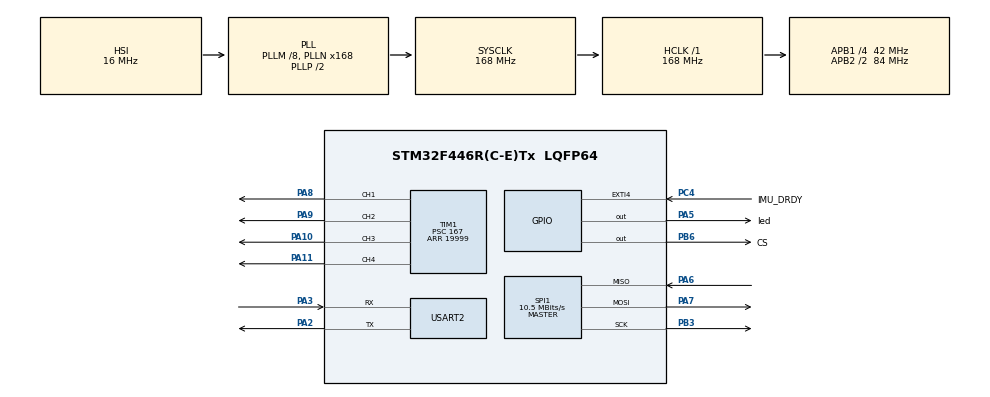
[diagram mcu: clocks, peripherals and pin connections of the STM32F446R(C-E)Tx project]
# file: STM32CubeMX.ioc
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Dma.Request0=USART2_TX
Dma.Request1=SPI1_TX
Dma.Request2=SPI1_RX
Dma.SPI1_RX.2.Direction=DMA_PERIPH_TO_MEMORY
Dma.SPI1_RX.2.FIFOMode=DMA_FIFOMODE_DISABLE
Dma.SPI1_RX.2.Instance=DMA2_Stream0
Dma.SPI1_RX.2.MemDataAlignment=DMA_MDATAALIGN_BYTE
Dma.SPI1_RX.2.MemInc=DMA_MINC_ENABLE
Dma.SPI1_RX.2.Mode=DMA_NORMAL
Dma.SPI1_RX.2.PeriphDataAlignment=DMA_PDATAALIGN_BYTE
Dma.SPI1_RX.2.PeriphInc=DMA_PINC_DISABLE
Dma.SPI1_RX.2.Priority=DMA_PRIORITY_HIGH
Dma.SPI1_TX.1.Direction=DMA_MEMORY_TO_PERIPH
Dma.SPI1_TX.1.FIFOMode=DMA_FIFOMODE_DISABLE
Dma.SPI1_TX.1.Instance=DMA2_Stream3
Dma.SPI1_TX.1.MemDataAlignment=DMA_MDATAALIGN_BYTE
Dma.SPI1_TX.1.MemInc=DMA_MINC_ENABLE
Dma.SPI1_TX.1.Mode=DMA_NORMAL
Dma.SPI1_TX.1.PeriphDataAlignment=DMA_PDATAALIGN_BYTE
Dma.SPI1_TX.1.PeriphInc=DMA_PINC_DISABLE
Dma.SPI1_TX.1.Priority=DMA_PRIORITY_HIGH
Dma.USART2_TX.0.Direction=DMA_MEMORY_TO_PERIPH
Dma.USART2_TX.0.FIFOMode=DMA_FIFOMODE_DISABLE
Dma.USART2_TX.0.Instance=DMA1_Stream6
Dma.USART2_TX.0.MemDataAlignment=DMA_MDATAALIGN_BYTE
Dma.USART2_TX.0.MemInc=DMA_MINC_ENABLE
Dma.USART2_TX.0.Mode=DMA_NORMAL
Dma.USART2_TX.0.PeriphDataAlignment=DMA_PDATAALIGN_BYTE
Dma.USART2_TX.0.PeriphInc=DMA_PINC_DISABLE
Dma.USART2_TX.0.Priority=DMA_PRIORITY_LOW
Mcu.Family=STM32F4
Mcu.Name=STM32F446R(C-E)Tx
Mcu.Package=LQFP64
NVIC.DMA1_Stream6_IRQn=true\:0\:0\:false\:false\:true\:false\:true\:true
NVIC.DMA2_Stream0_IRQn=true\:7\:0\:true\:false\:true\:false\:true\:true
NVIC.DMA2_Stream3_IRQn=true\:7\:0\:true\:false\:true\:false\:true\:true
NVIC.PriorityGroup=NVIC_PRIORITYGROUP_4
NVIC.TIM2_IRQn=true\:5\:0\:true\:false\:true\:true\:true\:true
NVIC.TIM6_DAC_IRQn=true\:15\:0\:false\:false\:true\:false\:true\:true
NVIC.TimeBase=TIM6_DAC_IRQn
NVIC.TimeBaseIP=TIM6
NVIC.USART2_IRQn=true\:2\:0\:true\:false\:true\:true\:true\:true
PA10.GPIO_Speed=GPIO_SPEED_FREQ_VERY_HIGH
PA10.Signal=S_TIM1_CH3
PA11.GPIO_Speed=GPIO_SPEED_FREQ_VERY_HIGH
PA11.Signal=S_TIM1_CH4
PA13.Mode=Serial_Wire
PA13.Signal=SYS_JTMS-SWDIO
PA14.Mode=Serial_Wire
PA14.Signal=SYS_JTCK-SWCLK
PA2.Mode=Asynchronous
PA2.Signal=USART2_TX
PA3.Mode=Asynchronous
PA3.Signal=USART2_RX
PA5.GPIO_Label=led
PA5.GPIO_Speed=GPIO_SPEED_FREQ_VERY_HIGH
PA5.PinState=GPIO_PIN_SET
PA5.Signal=GPIO_Output
PA6.Mode=Full_Duplex_Master
PA6.Signal=SPI1_MISO
PA7.Mode=Full_Duplex_Master
PA7.Signal=SPI1_MOSI
PA8.GPIO_Speed=GPIO_SPEED_FREQ_VERY_HIGH
PA8.Signal=S_TIM1_CH1
PA9.GPIO_Speed=GPIO_SPEED_FREQ_VERY_HIGH
PA9.Signal=S_TIM1_CH2
PB3.Mode=Full_Duplex_Master
PB3.Signal=SPI1_SCK
PB6.GPIO_Label=CS
PB6.GPIO_Speed=GPIO_SPEED_FREQ_VERY_HIGH
PB6.PinState=GPIO_PIN_SET
PB6.Signal=GPIO_Output
PC4.GPIO_Label=IMU_DRDY
PC4.Signal=GPXTI4
ProjectManager.HeapSize=0x200
ProjectManager.StackSize=0x400
ProjectManager.TargetToolchain=MDK-ARM V5
RCC.AHBFreq_Value=168000000
RCC.APB1CLKDivider=RCC_HCLK_DIV4
RCC.APB1Freq_Value=42000000
RCC.APB1TimFreq_Value=84000000
RCC.APB2CLKDivider=RCC_HCLK_DIV2
RCC.APB2Freq_Value=84000000
RCC.APB2TimFreq_Value=168000000
RCC.CortexFreq_Value=168000000
RCC.HCLKFreq_Value=168000000
RCC.PLLM=8
RCC.PLLN=168
RCC.SYSCLKFreq_VALUE=168000000
RCC.SYSCLKSource=RCC_SYSCLKSOURCE_PLLCLK
RCC.USBFreq_Value=168000000
RCC.VCOOutputFreq_Value=336000000
SH.S_TIM1_CH1.0=TIM1_CH1,PWM Generation1 CH1
SH.S_TIM1_CH2.0=TIM1_CH2,PWM Generation2 CH2
SH.S_TIM1_CH3.0=TIM1_CH3,PWM Generation3 CH3
SH.S_TIM1_CH4.0=TIM1_CH4,PWM Generation4 CH4
SPI1.BaudRatePrescaler=SPI_BAUDRATEPRESCALER_8
SPI1.CalculateBaudRate=10.5 MBits/s
SPI1.Direction=SPI_DIRECTION_2LINES
SPI1.Mode=SPI_MODE_MASTER
SPI1.VirtualType=VM_MASTER
TIM1.AutoReloadPreload=TIM_AUTORELOAD_PRELOAD_ENABLE
TIM1.Channel-PWM\ Generation1\ CH1=TIM_CHANNEL_1
TIM1.Channel-PWM\ Generation2\ CH2=TIM_CHANNEL_2
TIM1.Channel-PWM\ Generation3\ CH3=TIM_CHANNEL_3
TIM1.Channel-PWM\ Generation4\ CH4=TIM_CHANNEL_4
TIM1.Period=19999
TIM1.Prescaler=167
TIM1.Pulse-PWM\ Generation1\ CH1=1500
TIM1.Pulse-PWM\ Generation2\ CH2=1500
TIM1.Pulse-PWM\ Generation3\ CH3=1500
TIM1.Pulse-PWM\ Generation4\ CH4=1500
TIM2.Period=999
TIM2.Prescaler=83
USART2.VirtualMode=VM_ASYNC
VP_SYS_VS_tim6.Mode=TIM6
VP_TIM1_VS_ClockSourceINT.Mode=Internal
VP_TIM2_VS_ClockSourceINT.Mode=Internal
board=custom

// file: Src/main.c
/* USER CODE BEGIN Header */
#include "imu.h"
#include "usart.h"
#include <stdio.h>
#include <stdint.h>
extern UART_HandleTypeDef huart2;
extern SPI_HandleTypeDef hspi1;

/**
  ******************************************************************************
  * @file           : main.c
  * @brief          : Main program body
  ******************************************************************************
  * @attention
  *
  * Copyright (c) 2025 STMicroelectronics.
  * All rights reserved.
  *
  * This software is licensed under terms that can be found in the LICENSE file
  * in the root directory of this software component.
  * If no LICENSE file comes with this software, it is provided AS-IS.
  *
  ******************************************************************************
  */
/* USER CODE END Header */
#include "main.h"
#include "dma.h"
#include "spi.h"
#include "tim.h"
#include "usart.h"
#include "gpio.h"

void SystemClock_Config(void);
/* USER CODE BEGIN PFP */

// Simple uart printf support
int fputc(int ch, FILE *f)
{
    (void)f; // unused
    uint8_t c = (uint8_t)ch;
    HAL_UART_Transmit(&huart2, &c, 1, HAL_MAX_DELAY);
    return ch;
}

/* USER CODE END PFP */

int main(void)
{

  /* MCU Configuration--------------------------------------------------------*/

  /* Reset of all peripherals, Initializes the Flash interface and the Systick. */
  HAL_Init();

  /* Configure the system clock */
  SystemClock_Config();

  /* Initialize all configured peripherals */
  MX_GPIO_Init();
  MX_DMA_Init();
  MX_SPI1_Init();
  MX_USART2_UART_Init();
  MX_TIM1_Init();
  MX_TIM2_Init();

  /* USER CODE BEGIN 2 */
  // Start CS high:
  HAL_GPIO_WritePin(IMU_CS_PORT, IMU_CS_PIN, GPIO_PIN_SET);
  HAL_Delay(2);
  printf("Starting IMU\r\n");

  if (IMU_Init() != HAL_OK) {printf("IMU failed\r\n");}
  else {printf("IMU init ok! WAI: 0x%02X\r\n", IMU_WAI_VAL);}

  uint32_t t0 = HAL_GetTick();
  for (;;) {
    if ((HAL_GetTick() - t0) >= 10) {
      t0 += 10;
      imu_raw_t raw;
      imu_scaled_t sc;
      if (IMU_ReadRaw(&raw) == HAL_OK) {
        IMU_Scale(&raw, &sc);
        printf("A[g]=[%0.3f,%0.3f,%0.3f]  G[dps]=[%6.1f,%6.1f,%6.1f]\r\n",
               sc.ax_g, sc.ay_g, sc.az_g, sc.gx_dps, sc.gy_dps, sc.gz_dps);
      } else {
        printf("IMU read error\r\n");
      }
    }
  }

  /* USER CODE END 2 */

  /* Infinite loop */
  /* USER CODE BEGIN WHILE */
  // while (1)
  // {
  //   /* USER CODE END WHILE */

  //   /* USER CODE BEGIN 3 */
  // }
  /* USER CODE END 3 */
}

void SystemClock_Config(void)
{
  RCC_OscInitTypeDef RCC_OscInitStruct = {0};
  RCC_ClkInitTypeDef RCC_ClkInitStruct = {0};

  /** Configure the main internal regulator output voltage
  */
  __HAL_RCC_PWR_CLK_ENABLE();
  __HAL_PWR_VOLTAGESCALING_CONFIG(PWR_REGULATOR_VOLTAGE_SCALE1);

  /** Initializes the RCC Oscillators according to the specified parameters
  * in the RCC_OscInitTypeDef structure.
  */
  RCC_OscInitStruct.OscillatorType = RCC_OSCILLATORTYPE_HSI;
  RCC_OscInitStruct.HSIState = RCC_HSI_ON;
  RCC_OscInitStruct.HSICalibrationValue = RCC_HSICALIBRATION_DEFAULT;
  RCC_OscInitStruct.PLL.PLLState = RCC_PLL_ON;
  RCC_OscInitStruct.PLL.PLLSource = RCC_PLLSOURCE_HSI;
  RCC_OscInitStruct.PLL.PLLM = 8;
  RCC_OscInitStruct.PLL.PLLN = 168;
  RCC_OscInitStruct.PLL.PLLP = RCC_PLLP_DIV2;
  RCC_OscInitStruct.PLL.PLLQ = 2;
  RCC_OscInitStruct.PLL.PLLR = 2;
  if (HAL_RCC_OscConfig(&RCC_OscInitStruct) != HAL_OK)
  {
    Error_Handler();
  }

  /** Initializes the CPU, AHB and APB buses clocks
  */
  RCC_ClkInitStruct.ClockType = RCC_CLOCKTYPE_HCLK|RCC_CLOCKTYPE_SYSCLK
                              |RCC_CLOCKTYPE_PCLK1|RCC_CLOCKTYPE_PCLK2;
  RCC_ClkInitStruct.SYSCLKSource = RCC_SYSCLKSOURCE_PLLCLK;
  RCC_ClkInitStruct.AHBCLKDivider = RCC_SYSCLK_DIV1;
  RCC_ClkInitStruct.APB1CLKDivider = RCC_HCLK_DIV4;
  RCC_ClkInitStruct.APB2CLKDivider = RCC_HCLK_DIV2;

  if (HAL_RCC_ClockConfig(&RCC_ClkInitStruct, FLASH_LATENCY_5) != HAL_OK)
  {
    Error_Handler();
  }
}

void HAL_TIM_PeriodElapsedCallback(TIM_HandleTypeDef *htim)
{
  if (htim->Instance == TIM6)
  {
    HAL_IncTick();
  }
}

void Error_Handler(void)
{
  __disable_irq();
  while (1)
  {
  }
}
